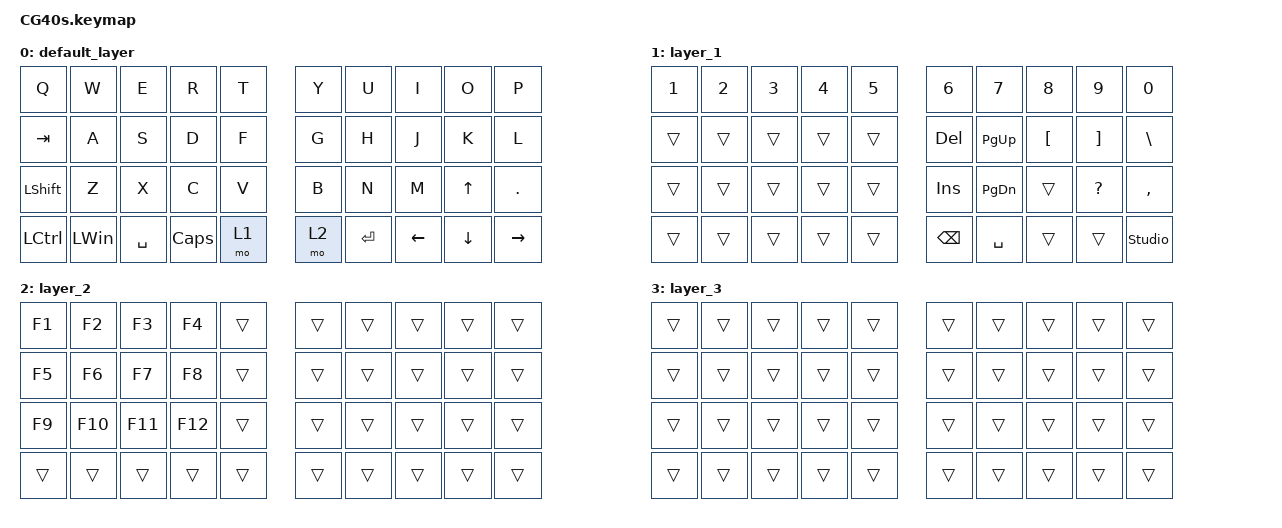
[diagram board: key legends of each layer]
#include <dt-bindings/zmk/mouse.h>
#include <behaviors.dtsi>
#include <dt-bindings/zmk/keys.h>

/ {
    keymap {
        compatible = "zmk,keymap";

        default_layer {
            bindings = <
&kp Q       &kp W         &kp E      &kp R     &kp T  &kp Y  &kp U      &kp I     &kp O         &kp P
&kp TAB     &kp A         &kp S      &kp D     &kp F  &kp G  &kp H      &kp J     &kp K         &kp L
&kp LSHIFT  &kp Z         &kp X      &kp C     &kp V  &kp B  &kp N      &kp M     &kp UP_ARROW  &kp DOT
&kp LCTRL   &kp LEFT_WIN  &kp SPACE  &kp CAPS  &mo 1  &mo 2  &kp ENTER  &kp LEFT  &kp DOWN      &kp RIGHT
            >;
        };

        layer_1 {
            bindings = <
&kp N1  &kp N2  &kp N3  &kp N4  &kp N5  &kp N6         &kp N7     &kp N8    &kp N9        &kp N0
&trans  &trans  &trans  &trans  &trans  &kp DEL        &kp PG_UP  &kp LBKT  &kp RBKT      &kp BSLH
&trans  &trans  &trans  &trans  &trans  &kp INS        &kp PG_DN  &trans    &kp QUESTION  &kp COMMA
&trans  &trans  &trans  &trans  &trans  &kp BACKSPACE  &kp SPACE  &trans    &trans        &studio_unlock
            >;
        };

        layer_2 {
            bindings = <
&kp F1  &kp F2   &kp F3   &kp F4   &trans  &trans  &trans  &trans  &trans  &trans
&kp F5  &kp F6   &kp F7   &kp F8   &trans  &trans  &trans  &trans  &trans  &trans
&kp F9  &kp F10  &kp F11  &kp F12  &trans  &trans  &trans  &trans  &trans  &trans
&trans  &trans   &trans   &trans   &trans  &trans  &trans  &trans  &trans  &trans
            >;
        };

        layer_3 {
            bindings = <
&trans  &trans  &trans  &trans  &trans  &trans  &trans  &trans  &trans  &trans
&trans  &trans  &trans  &trans  &trans  &trans  &trans  &trans  &trans  &trans
&trans  &trans  &trans  &trans  &trans  &trans  &trans  &trans  &trans  &trans
&trans  &trans  &trans  &trans  &trans  &trans  &trans  &trans  &trans  &trans
            >;
        };
    };
};
